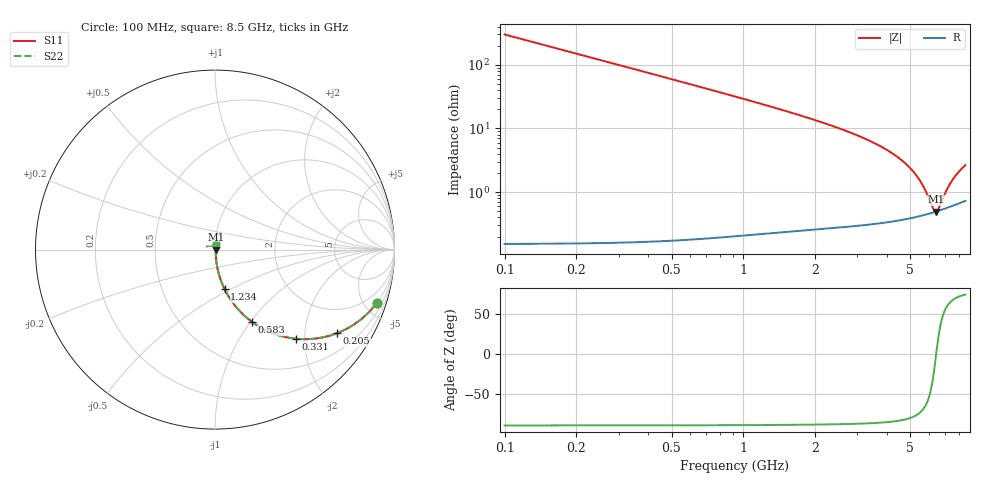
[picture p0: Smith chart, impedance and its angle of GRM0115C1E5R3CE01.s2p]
!Murata Part Number: GRM0115C1E5R3CE01
!These Parameters are Measured in Series Mode Connection
!Data Generated on Mar 30, 2021
!  o--ll--o
!Port1  Port2
!  o------o
!Operation Temp=25[degC], DC Bias Voltage=0[V]
!Freq. Start=100[MHz] Stop=9[GHz] 401[Steps]
# Hz S RI R 50
!Freq.(Hz) S11(Real) S11(Imag) S21(Real) S21(Imag) S12(Real) S12(Imag) S22(Real) S22(Imag)
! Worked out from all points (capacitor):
!   401 points, 100 MHz to 8.5 GHz, reference 50 ohm
!   read as one part in series: C = 5.3 pF near 142 MHz
!   lowest |Z| = 495 mohm at 6.4 GHz (marker M1)
!   series resonance near 6.415 GHz, so ESL is about 120 pH
!   S11 on the Smith chart (normalised r, x): 100 MHz: 1.00, -6.00; 205 MHz: 1.00, -2.93; 331 MHz: 1.00, -1.81; 583 MHz: 1.00, -1.02; 1.234 GHz: 1.00, -0.47; 8.5 GHz: 1.01, +0.05
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1e8  0.9 -0.2997  0.1 0.2997  0.1 0.2997  0.9 -0.2997
1.42e8  0.8169 -0.3864  0.1831 0.3864  0.1831 0.3864  0.8169 -0.3864
2.05e8  0.6814 -0.4654  0.3186 0.4654  0.3186 0.4654  0.6814 -0.4654
2.68e8  0.5556 -0.4962  0.4444 0.4962  0.4444 0.4962  0.5556 -0.4962
3.31e8  0.4501 -0.4966  0.5499 0.4966  0.5499 0.4966  0.4501 -0.4966
4.57e8  0.2996 -0.4568  0.7004 0.4568  0.7004 0.4568  0.2996 -0.4568
5.83e8  0.2075 -0.4038  0.7925 0.4038  0.7925 0.4038  0.2075 -0.4038
8.35e8  0.1121 -0.3128  0.8879 0.3128  0.8879 0.3128  0.1121 -0.3128
1.234e9  0.0537 -0.2207  0.9463 0.2207  0.9463 0.2207  0.0537 -0.2207
1.507e9  0.0362 -0.1805  0.9638 0.1805  0.9638 0.1805  0.0362 -0.1805
2.095e9  0.0185 -0.1249  0.9815 0.1249  0.9815 0.1249  0.0185 -0.1249
2.914e9  0.00944 -0.0804  0.9906 0.0804  0.9906 0.0804  0.00944 -0.0804
4.3e9  0.00492 -0.0379  0.9951 0.0379  0.9951 0.0379  0.00492 -0.0379
5.119e9  0.00438 -0.0209  0.9956 0.0209  0.9956 0.0209  0.00438 -0.0209
5.707e9  0.00446 -0.0107  0.9955 0.0107  0.9955 0.0107  0.00446 -0.0107
6.211e9  0.00476 -0.00295  0.9952 0.00295  0.9952 0.00295  0.00476 -0.00295
6.4e9  0.00492 -0.000217  0.9951 0.000217  0.9951 0.000217  0.00492 -0.000217
6.568e9  0.00508 0.00214  0.9949 -0.00214  0.9949 -0.00214  0.00508 0.00214
7.114e9  0.00571 0.00935  0.9943 -0.00935  0.9943 -0.00935  0.00571 0.00935
7.408e9  0.00611 0.013  0.9939 -0.013  0.9939 -0.013  0.00611 0.013
7.723e9  0.00658 0.0167  0.9934 -0.0167  0.9934 -0.0167  0.00658 0.0167
8.5e9  0.00785 0.0251  0.9921 -0.0251  0.9921 -0.0251  0.00785 0.0251
